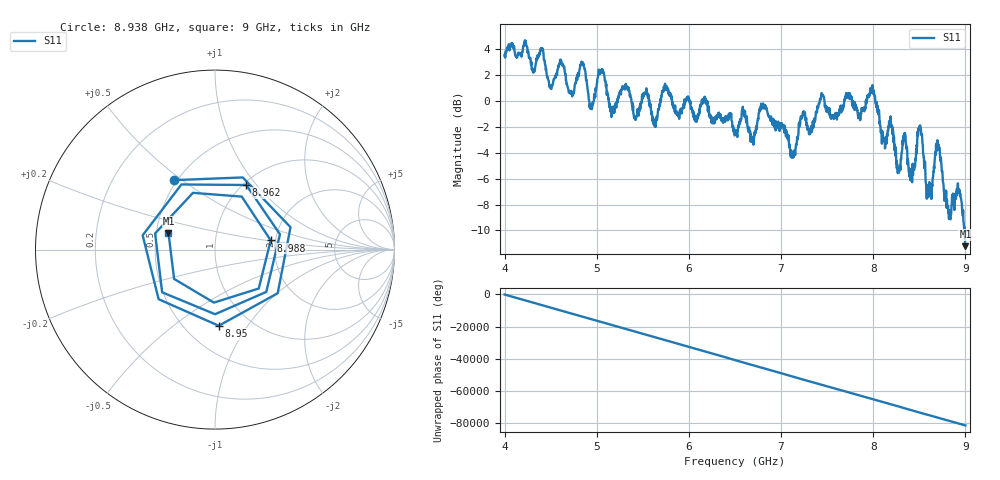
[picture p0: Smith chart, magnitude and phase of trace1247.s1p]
! Created with skrf 1.8.0 (http://scikit-rf.org).
# Hz S RI R 50.0
!freq ReS11 ImS11
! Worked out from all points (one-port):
!   1601 points, 4 GHz to 9 GHz, reference 50 ohm
!   lowest |S11| = -11.2 dB at 9 GHz (marker M1), VSWR 1.76, Z = 29 + j5.81 ohm
!   |S11| at or under -10 dB: 8.987588 GHz to 8.988431 GHz (842.9 kHz wide, 0.00938 % of centre); 8.991936 GHz to end of sweep
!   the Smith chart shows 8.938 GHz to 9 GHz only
!   S11 on the Smith chart (normalised r, x): 8.938 GHz: 0.48, +0.47; 8.95 GHz: 0.72, -0.75; 8.962 GHz: 1.04, +0.89; 8.988 GHz: 1.88, +0.21; 9 GHz: 0.58, +0.12
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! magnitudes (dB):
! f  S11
! 4 GHz  3.5
! 4.503 GHz  0.9
! 4.625 GHz  2.7
! 4.728 GHz  0.5
! 4.85 GHz  2.9
! 4.941 GHz  -0.3
! 5.047 GHz  2.4
! 5.159 GHz  -1.3
! 5.25 GHz  0.7
! 5.875 GHz  -1.0
! 6.5 GHz  -2.5
! 6.816 GHz  -0.6
! 7.125 GHz  -4.0
! 7.234 GHz  -1.0
! 7.75 GHz  0.3
! 7.994 GHz  1.1
! 8.269 GHz  -5.4
! 8.375 GHz  -4.5
! 8.428 GHz  -4.9
! 8.506 GHz  -2.1
! 8.597 GHz  -7.2
! 8.697 GHz  -3.0
! 8.819 GHz  -8.6
! 8.938 GHz  -7.0
! 8.95 GHz  -7.4
! 8.962 GHz  -8.0
! 8.988 GHz  -10.0
! 9 GHz  -11.2
